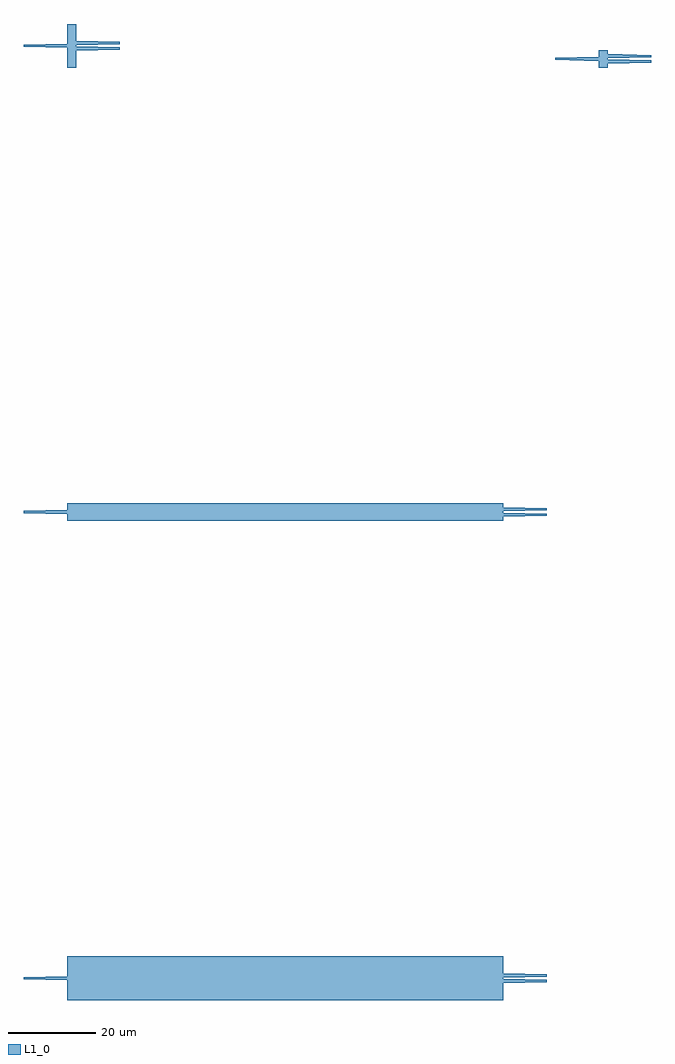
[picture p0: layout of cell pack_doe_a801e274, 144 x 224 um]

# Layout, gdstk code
import gdstk
lib = gdstk.Library(unit=1e-6, precision=1e-09)
def R(c, l, rs):  # rectangles x0, y0, x1, y1
    for r in rs: c.add(gdstk.rectangle(r[:2], r[2:], *l))
def P(c, l, *ps):  # polygons
    for p in ps: c.add(gdstk.Polygon(p, *l))
L1_0 = (1, 0)

mmi1x2_length_mmi100_wid = lib.new_cell('mmi1x2_length_mmi100_width_mmi10')
R(mmi1x2_length_mmi100_wid, L1_0, [(0,-5,100,5)])
P(mmi1x2_length_mmi100_wid, L1_0, [(-10,0.25),(0,0.5),(0,-0.5),(-10,-0.25)],
  [(110,0.375),(100,0.125),(100,1.125),(110,0.875)],
  [(110,-0.875),(100,-1.125),(100,-0.125),(110,-0.375)])

c_mmi1x2_length_mmi100_wid = lib.new_cell('mmi1x2_length_mmi100_width_mmi4')
R(c_mmi1x2_length_mmi100_wid, L1_0, [(0,-2,100,2)])
P(c_mmi1x2_length_mmi100_wid, L1_0, [(-10,0.25),(0,0.5),(0,-0.5),(-10,-0.25)],
  [(110,0.375),(100,0.125),(100,1.125),(110,0.875)],
  [(110,-0.875),(100,-1.125),(100,-0.125),(110,-0.375)])

mmi1x2_length_mmi2_width = lib.new_cell('mmi1x2_length_mmi2_width_mmi10')
R(mmi1x2_length_mmi2_width, L1_0, [(0,-5,2,5)])
P(mmi1x2_length_mmi2_width, L1_0, [(-10,0.25),(0,0.5),(0,-0.5),(-10,-0.25)],
  [(12,0.375),(2,0.125),(2,1.125),(12,0.875)],
  [(12,-0.875),(2,-1.125),(2,-0.125),(12,-0.375)])

c_mmi1x2_length_mmi2_width = lib.new_cell('mmi1x2_length_mmi2_width_mmi4')
R(c_mmi1x2_length_mmi2_width, L1_0, [(0,-2,2,2)])
P(c_mmi1x2_length_mmi2_width, L1_0, [(-10,0.25),(0,0.5),(0,-0.5),(-10,-0.25)],
  [(12,0.375),(2,0.125),(2,1.125),(12,0.875)],
  [(12,-0.875),(2,-1.125),(2,-0.125),(12,-0.375)])

pack_doe_a801e274 = lib.new_cell('pack_doe_a801e274')
pack_doe_a801e274.add(gdstk.Reference(mmi1x2_length_mmi100_wid, (60.5,55.5)))
pack_doe_a801e274.add(gdstk.Reference(c_mmi1x2_length_mmi100_wid, (60.5,162.5)))
pack_doe_a801e274.add(gdstk.Reference(mmi1x2_length_mmi2_width, (60.5,269.5)))
pack_doe_a801e274.add(gdstk.Reference(c_mmi1x2_length_mmi2_width, (182.5,266.5)))

lib.write_gds('pack_doe_a801e274.gds')
